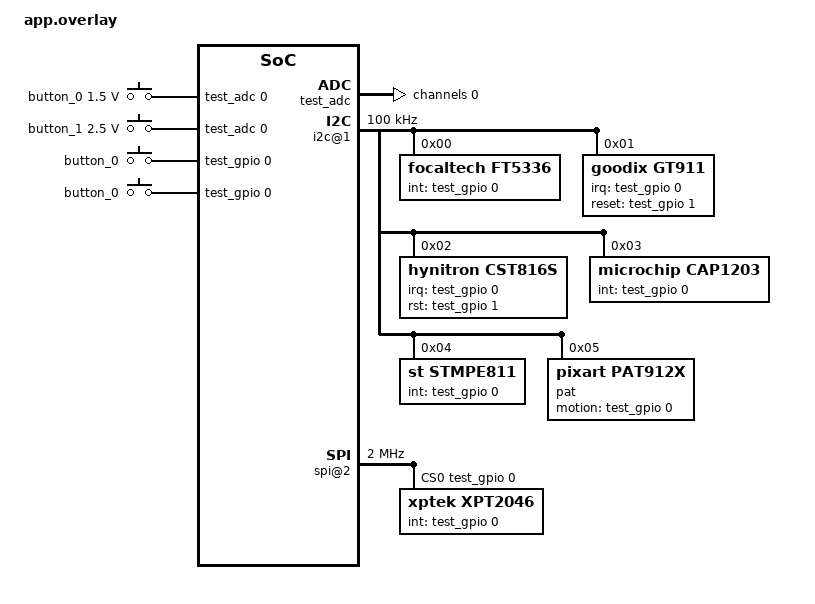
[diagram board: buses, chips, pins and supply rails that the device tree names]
/*
 * Copyright 2023 Google LLC
 *
 * SPDX-License-Identifier: Apache-2.0
 */

/ {
	test {
		#address-cells = <1>;
		#size-cells = <1>;

		test_adc: adc@adc0adc0 {
			compatible = "vnd,adc";
			reg = <0xadc0adc0 0x1000>;
			#io-channel-cells = <1>;
			#address-cells = <1>;
			#size-cells = <0>;
			status = "okay";

			channel@0 {
				reg = <0>;
                                zephyr,gain = "ADC_GAIN_1";
                                zephyr,reference = "ADC_REF_VDD_1";
                                zephyr,acquisition-time = <ADC_ACQ_TIME_DEFAULT>;
			};
		};

		test_gpio: gpio@0 {
			compatible = "vnd,gpio";
			gpio-controller;
			reg = <0x0 0x1000>;
			#gpio-cells = <0x2>;
			status = "okay";
		};

		adc-keys {
			compatible = "adc-keys";
			io-channels = <&test_adc 0>;
			keyup-threshold-mv = <0>;
			button_0 {
				press-thresholds-mv = <1500>, <1750>;
				zephyr,code = <0>;
			};
			button_1 {
				press-thresholds-mv = <2500>, <1750>;
				zephyr,code = <1>;
			};
		};

		gpio-keys {
			compatible = "gpio-keys";
			debounce-interval-ms = <30>;
			button_0 {
				gpios = <&test_gpio 0 0>;
				zephyr,code = <0>;
			};
		};

		gpio-keys-polled {
			compatible = "gpio-keys";
			debounce-interval-ms = <30>;
			button_0 {
				gpios = <&test_gpio 0 0>;
				zephyr,code = <0>;
			};
			polling-mode;
		};

		evdev {
			compatible = "zephyr,native-linux-evdev";
		};

		kbd-matrix-0 {
			compatible = "gpio-kbd-matrix";
			row-gpios = <&test_gpio 0 (GPIO_PULL_UP | GPIO_ACTIVE_LOW)>,
				    <&test_gpio 1 (GPIO_PULL_UP | GPIO_ACTIVE_LOW)>;
			col-gpios = <&test_gpio 2 GPIO_ACTIVE_LOW>,
				    <&test_gpio 3 GPIO_ACTIVE_LOW>,
				    <&test_gpio 4 GPIO_ACTIVE_LOW>;
			actual-key-mask = <0x0f 0x0a 0x0b>;

			keymap {
				compatible = "input-keymap";
				keymap = <0 1 2>;
				row-size = <2>;
				col-size = <2>;
			};
		};

		kbd-matrix-1 {
			compatible = "gpio-kbd-matrix";
			row-gpios = <&test_gpio 0 (GPIO_PULL_DOWN | GPIO_ACTIVE_HIGH)>,
				    <&test_gpio 1 (GPIO_PULL_DOWN | GPIO_ACTIVE_HIGH)>,
				    <&test_gpio 2 (GPIO_PULL_DOWN | GPIO_ACTIVE_HIGH)>;
			col-gpios = <&test_gpio 3 GPIO_ACTIVE_HIGH>,
				    <&test_gpio 4 GPIO_ACTIVE_HIGH>;
			col-drive-inactive;
			idle-mode = "poll";
		};

		kbd-matrix-2 {
			compatible = "gpio-kbd-matrix";
			row-gpios = <&test_gpio 0 (GPIO_PULL_DOWN | GPIO_ACTIVE_HIGH)>,
				    <&test_gpio 1 (GPIO_PULL_DOWN | GPIO_ACTIVE_HIGH)>,
				    <&test_gpio 2 (GPIO_PULL_DOWN | GPIO_ACTIVE_HIGH)>;
			col-gpios = <&test_gpio 3 GPIO_ACTIVE_HIGH>,
				    <&test_gpio 4 GPIO_ACTIVE_HIGH>;
			poll-timeout-ms = <0>;
			idle-mode = "scan";
		};

		qdec-gpio {
			compatible = "gpio-qdec";
			gpios = <&test_gpio 0 0>, <&test_gpio 1 0>;
			steps-per-period = <4>;
			zephyr,axis = <0>;
			sample-time-us = <2000>;
			idle-timeout-ms = <200>;
		};

		qdec-gpio-polled {
			compatible = "gpio-qdec";
			gpios = <&test_gpio 0 0>, <&test_gpio 1 0>;
			led-gpios = <&test_gpio 2 0>;
			led-pre-us = <5>;
			steps-per-period = <4>;
			zephyr,axis = <0>;
			sample-time-us = <2000>;
			idle-timeout-ms = <200>;
			idle-poll-time-us = <5000>;
		};

		analog_axis {
			compatible = "analog-axis";
			axis-x {
				io-channels = <&test_adc 0>;
				out-min = <(-127)>;
				out-max = <127>;
				out-deadzone = <8>;
				in-min = <(-100)>;
				in-max = <100>;
				zephyr,axis = <0>;
				invert;
			};
		};

		longpress: longpress {
			input = <&longpress>;
			compatible = "zephyr,input-longpress";
			input-codes = <0>;
			short-codes = <0>;
			long-codes = <0>;
			long-delay-ms = <100>;
		};

		i2c@1 {
			#address-cells = <1>;
			#size-cells = <0>;
			compatible = "vnd,i2c";
			reg = <0x1 0x1000>;
			status = "okay";
			clock-frequency = <100000>;

			ft5336@0 {
				compatible = "focaltech,ft5336";
				reg = <0x0>;
				int-gpios = <&test_gpio 0 0>;
			};

			gt911@1 {
				compatible = "goodix,gt911";
				reg = <0x1>;
				irq-gpios = <&test_gpio 0 0>;
				reset-gpios = <&test_gpio 1 0>;
			};

			cst816s@2 {
				compatible = "hynitron,cst816s";
				reg = <0x2>;
				irq-gpios = <&test_gpio 0 0>;
				rst-gpios = <&test_gpio 1 0>;
			};

			cap1203@3 {
				compatible = "microchip,cap1203";
				reg = <0x3>;
				int-gpios = <&test_gpio 0 0>;
				input-codes = <0 1 2>;
			};

			stmpe811@4 {
				compatible = "st,stmpe811";
				reg = <0x4>;
				int-gpios = <&test_gpio 0 0>;
				panel-driver-settling-time-us = <10>;
				touch-detect-delay-us = <10>;
				touch-average-control = <1>;
				tracking-index = <0>;
			};

			pat@5 {
				compatible = "pixart,pat912x";
				reg = <0x5>;
				motion-gpios = <&test_gpio 0 0>;
				zephyr,axis-x = <0>;
				zephyr,axis-y = <1>;
				res-x-cpi = <0>;
				res-y-cpi = <0>;
				invert-x;
				invert-y;
				sleep1-enable;
				sleep2-enable;
			};
		};

		spi@2 {
			#address-cells = <1>;
			#size-cells = <0>;
			compatible = "vnd,spi";
			reg = <0x2 0x1000>;
			status = "okay";
			clock-frequency = <2000000>;

			/* one entry for every devices */
			cs-gpios = <&test_gpio 0 0>;

			xpt2046@0 {
				compatible = "xptek,xpt2046";
				spi-max-frequency = <0>;
				reg = <0x0>;
				int-gpios = <&test_gpio 0 0>;
				touchscreen-size-x = <10>;
				touchscreen-size-y = <10>;
				min-x = <0>;
				min-y = <0>;
				max-x = <1>;
				max-y = <1>;
			};
		};
	};
};
